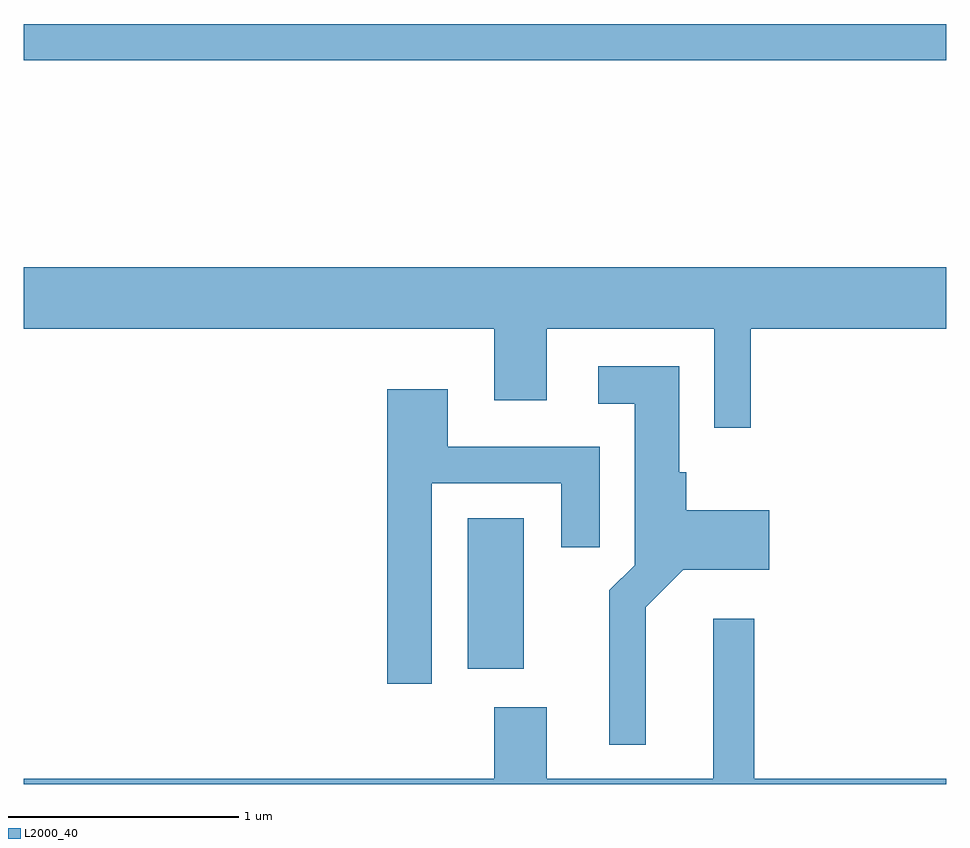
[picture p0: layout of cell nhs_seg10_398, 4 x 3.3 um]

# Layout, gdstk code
import gdstk
lib = gdstk.Library(unit=1e-6, precision=1e-09)
def R(c, l, rs):  # rectangles x0, y0, x1, y1
    for r in rs: c.add(gdstk.rectangle(r[:2], r[2:], *l))
def P(c, l, *ps):  # polygons
    for p in ps: c.add(gdstk.Polygon(p, *l))
L2000_40 = (2000, 40)

nhs_seg10_398 = lib.new_cell('nhs_seg10_398')
R(nhs_seg10_398, L2000_40, [(197.536,2199.021,197.779,2199.674), (195.611,2201.661,199.611,2201.819)])
P(nhs_seg10_398, L2000_40, [(198.764,2200.496),(199.611,2200.496),(199.611,2200.764),(195.611,2200.764),(195.611,2200.496),(197.651,2200.496),(197.651,2200.186),(197.879,2200.186),(197.879,2200.496),(198.606,2200.496),(198.606,2200.068),(198.764,2200.068)],
  [(198.309,2199.289),(198.472,2199.451),(198.844,2199.451),(198.844,2199.709),(198.484,2199.709),(198.484,2199.874),(198.454,2199.874),(198.454,2200.334),(198.103,2200.334),(198.103,2200.171),(198.261,2200.171),(198.261,2199.472),(198.151,2199.362),(198.151,2198.693),(198.309,2198.693)],
  [(197.379,2199.826),(197.941,2199.826),(197.941,2199.548),(198.109,2199.548),(198.109,2199.984),(197.449,2199.984),(197.449,2200.234),(197.186,2200.234),(197.186,2198.956),(197.379,2198.956)],
  [(199.611,2198.544),(198.779,2198.544),(198.779,2199.239),(198.601,2199.239),(198.601,2198.544),(197.879,2198.544),(197.879,2198.854),(197.651,2198.854),(197.651,2198.544),(195.611,2198.544),(195.611,2198.522),(199.611,2198.522)])

lib.write_gds('nhs_seg10_398.gds')
